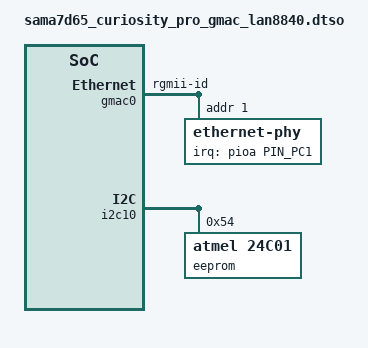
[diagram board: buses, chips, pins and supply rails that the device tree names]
// SPDX-License-Identifier: (GPL-2.0+ OR MIT)
/*
 *  Device Tree overlay for SAMA7D65-CURIOSITY-PRO board
 *  in order to use single-port Gigabit PHY EDS2 daughter card.
 *
 *  Copyright (c) 2025 Microchip Technology Inc. and its subsidiaries
 *
 *  Author: Ryan Wanner <ryan.wanner@microchip.com>
 *
 * Refer to the EV12N54A (LAN8840-EDS2 daughter card)
 *
 */
/dts-v1/;
/plugin/;
#include "sama7d65-pinfunc.h"
#include <dt-bindings/mfd/atmel-flexcom.h>
#include <dt-bindings/clock/at91.h>
#include <dt-bindings/pinctrl/at91.h>
#include <dt-bindings/gpio/gpio.h>
#include <dt-bindings/interrupt-controller/irq.h>

&{/}
{
	model = "Microchip SAMA7D65 Curiosity Pro LAN8840";
};

&gmac0 {
	#address-cells = <1>;
	#size-cells = <0>;
	pinctrl-names = "default";
	pinctrl-0 = <&pinctrl_gmac0_default
		     &pinctrl_gmac0_mdio_default
		     &pinctrl_gmac0_txck_default
		     &pinctrl_gmac0_phy_irq>;
	phy-mode = "rgmii-id";
	status = "okay";

	ethernet-phy@1 {
		reg = <0x1>;
		interrupt-parent = <&pioa>;
		interrupts = <PIN_PC1 IRQ_TYPE_LEVEL_LOW>;
//		rxc-skew-psec = <800>;
		status = "okay";
	};
};

&i2c10 {
	#address-cells = <1>;
	#size-cells = <0>;
	dmas = <0>, <0>;
	status = "okay";

	eeprom@54 {
		compatible = "atmel,24c01";
		reg = <0x54>;
		pagesize = <8>;
		status = "okay";
	};
};

&pioa {
	pinctrl_gmac0_default: gmac0-default {
		pinmux = <PIN_PA26__G0_TX0>,
			 <PIN_PA27__G0_TX1>,
			 <PIN_PB4__G0_TX2>,
			 <PIN_PB5__G0_TX3>,
			 <PIN_PA29__G0_RX0>,
			 <PIN_PA30__G0_RX1>,
			 <PIN_PB2__G0_RX2>,
			 <PIN_PB6__G0_RX3>,
			 <PIN_PA25__G0_TXCTL>,
			 <PIN_PB3__G0_RXCK>,
			 <PIN_PA28__G0_RXCTL>;
		slew-rate = <0>;
		bias-disable;
	};

	pinctrl_gmac0_mdio_default: gmac0-mdio-default {
		pinmux = <PIN_PA31__G0_MDC>,
			 <PIN_PB0__G0_MDIO>;
		bias-disable;
	};

	pinctrl_gmac0_phy_irq: gmac0-phy-irq {
		pinmux = <PIN_PC1__GPIO>;
		bias-disable;
	};

	pinctrl_gmac0_txck_default: gmac0-txck-default {
		pinmux = <PIN_PB1__G0_REFCK>;
		slew-rate = <0>;
		bias-pull-up;
	};
};
